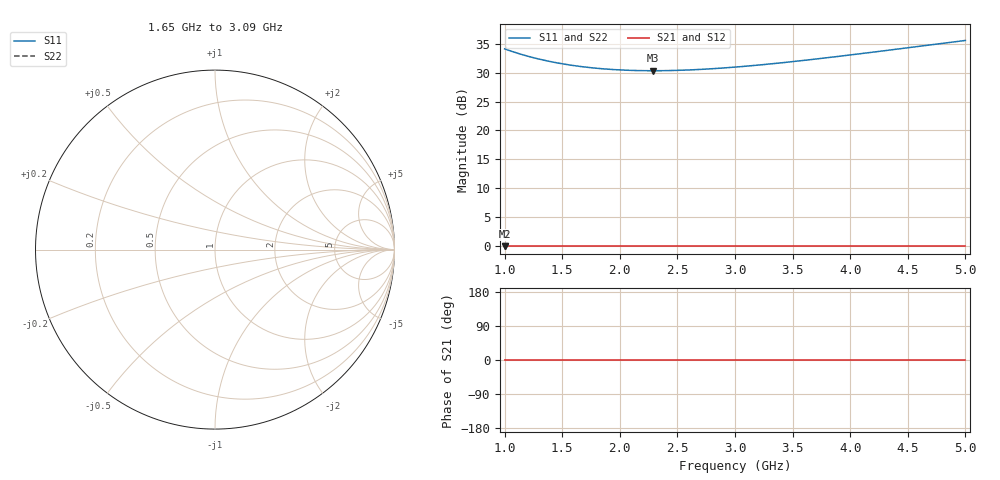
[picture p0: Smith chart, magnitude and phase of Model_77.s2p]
# GHZ S RI R 50
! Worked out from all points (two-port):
!   401 points, 1 GHz to 5 GHz, reference 50 ohm
!   highest |S21| = 0.00 dB at 1 GHz (marker M1); lowest = 0.0 dB at 1 GHz (marker M2)
!   |S21| within 3 dB of the highest: start of sweep to end of sweep
!   lowest |S11| = 30.3 dB at 2.29 GHz (marker M3)
!   |S11| at or under -10 dB: nowhere
!   |S22| runs from 30.3 to 35.6 dB; largest |S21 - S12| = 0
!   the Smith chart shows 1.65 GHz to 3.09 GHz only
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1  50.78 0  1 0  1 0  50.78 0
1.15  45.36 0  1 0  1 0  45.36 0
1.22  43.36 0  1 0  1 0  43.36 0
1.3  41.41 0  1 0  1 0  41.41 0
1.38  39.76 0  1 0  1 0  39.76 0
1.47  38.2 0  1 0  1 0  38.2 0
1.57  36.78 0  1 0  1 0  36.78 0
1.67  35.63 0  1 0  1 0  35.63 0
1.81  34.43 0  1 0  1 0  34.43 0
1.96  33.56 0  1 0  1 0  33.56 0
2.12  33.03 0  1 0  1 0  33.03 0
2.29  32.86 0  1 0  1 0  32.86 0
2.34  32.87 0  1 0  1 0  32.87 0
2.5  33.1 0  1 0  1 0  33.1 0
2.66  33.58 0  1 0  1 0  33.58 0
3  35.32 0  1 0  1 0  35.32 0
3.33  37.82 0  1 0  1 0  37.82 0
3.67  41.13 0  1 0  1 0  41.13 0
4  44.97 0  1 0  1 0  44.97 0
4.34  49.54 0  1 0  1 0  49.54 0
4.63  53.9 0  1 0  1 0  53.9 0
5  60.04 0  1 0  1 0  60.04 0
